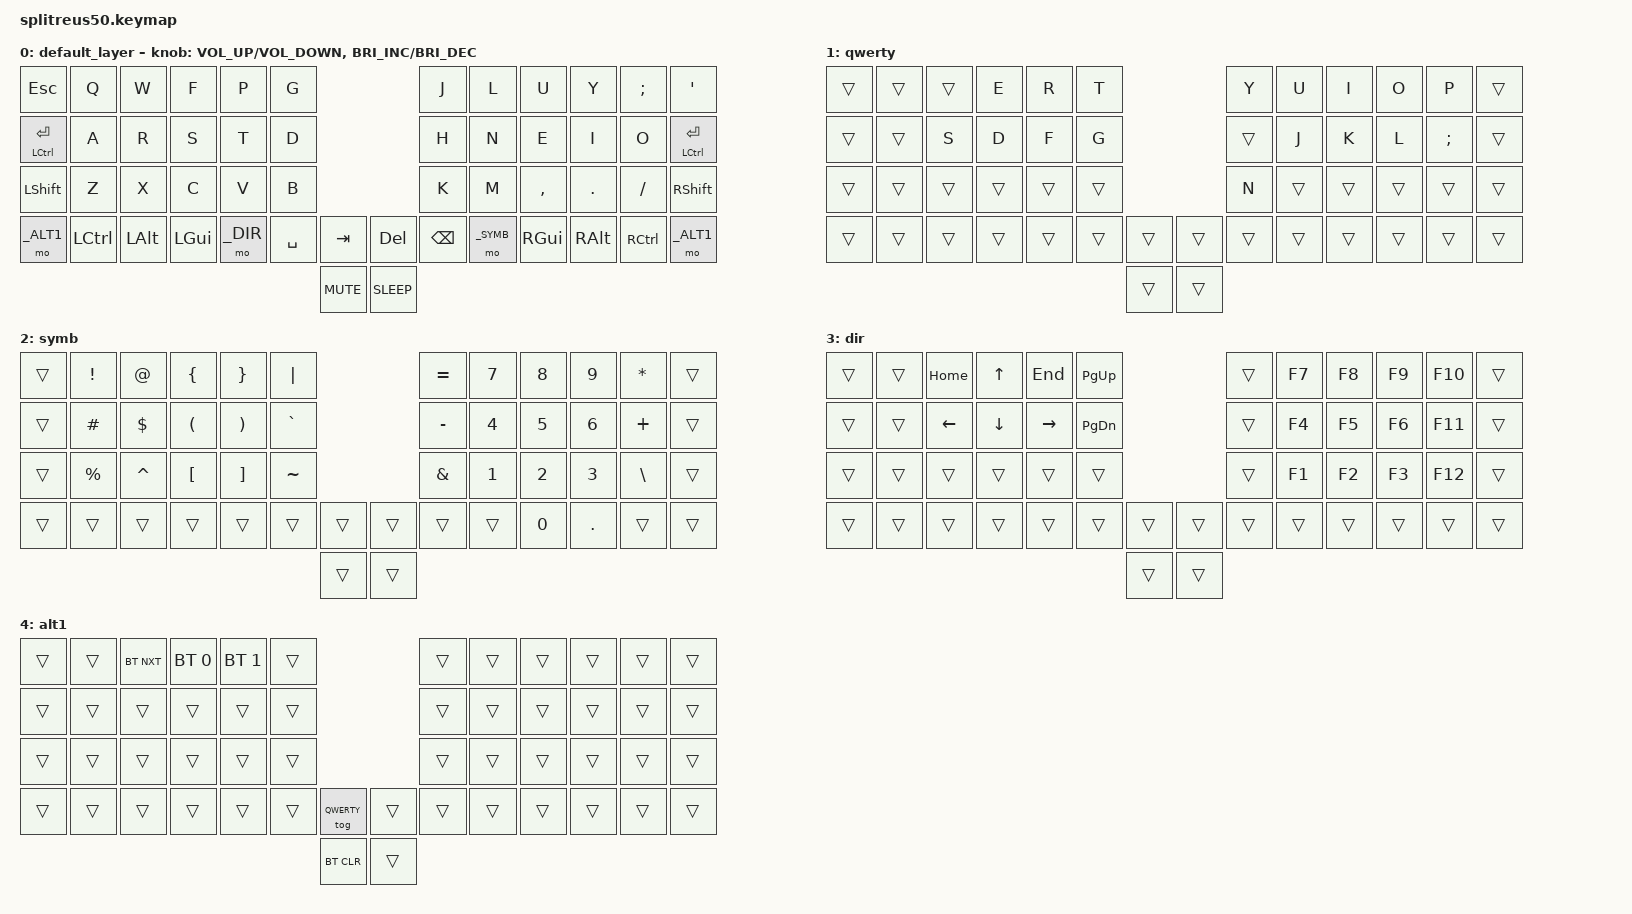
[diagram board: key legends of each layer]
/*
 * Copyright (c) 2021 The ZMK Contributors
 *
 * SPDX-License-Identifier: MIT
 */
 
#include <behaviors.dtsi>
#include <dt-bindings/zmk/keys.h>
#include <dt-bindings/zmk/bt.h>
#include <dt-bindings/zmk/outputs.h>

#define _DEFAULT 0
#define _QWERTY 1
#define _SYMB 2
#define _DIR 3
#define _ALT1 4

#define RESET &reset
#define BOOTLDR   &bootloader
#define CTLENT    &mt LCTL ENTER
#define MOALT1    &mo _ALT1
#define TGQW      &tog _QWERTY
#define BTCLR     &bt BT_CLR
#define BTNXT     &bt BT_NXT
#define BTSEL0    &bt BT_SEL 0
#define BTSEL1    &bt BT_SEL 1

/ {
	keymap {
		compatible = "zmk,keymap";

		default_layer {
			bindings = <
&kp ESC   &kp Q      &kp W      &kp F      &kp P      &kp G                            &kp J      &kp L      &kp U      &kp Y     &kp SEMI    &kp SQT
CTLENT    &kp A      &kp R      &kp S      &kp T      &kp D                            &kp H      &kp N      &kp E      &kp I     &kp O       CTLENT
&kp LSHFT &kp Z      &kp X      &kp C      &kp V      &kp B                            &kp K      &kp M      &kp COMMA  &kp DOT   &kp FSLH    &kp RSHFT
MOALT1    &kp LCTL   &kp LALT   &kp LGUI   &mo _DIR   &kp SPACE  &kp TAB    &kp DEL    &kp BKSP   &mo _SYMB  &kp RGUI   &kp RALT  &kp RCTL    MOALT1
													  			  &kp C_MUTE  &kp C_SLEEP
			>;

		sensor-bindings = <&inc_dec_kp C_VOLUME_UP C_VOLUME_DOWN &inc_dec_kp C_BRIGHTNESS_INC C_BRIGHTNESS_DEC>;
		};
		
		qwerty {
			bindings = <
&trans    &trans     &trans     &kp E      &kp R      &kp T                            &kp Y      &kp U      &kp I      &kp O      &kp P    &trans
&trans    &trans     &kp S      &kp D      &kp F      &kp G                            &trans     &kp J      &kp K      &kp L      &kp SEMI &trans
&trans    &trans     &trans     &trans     &trans     &trans                           &kp N      &trans     &trans     &trans     &trans   &trans
&trans    &trans     &trans     &trans     &trans     &trans    &trans     &trans      &trans     &trans     &trans     &trans     &trans   &trans
																   &trans   &trans
			>;
		};
		
		symb {
			bindings = <
&trans    &kp EXCL   &kp AT     &kp LBRC   &kp RBRC   &kp PIPE                         &kp EQUAL  &kp N7     &kp N8     &kp N9     &kp ASTRK  &trans
&trans    &kp HASH   &kp DLLR   &kp LPAR   &kp RPAR   &kp GRAVE                        &kp MINUS  &kp N4     &kp N5     &kp N6     &kp PLUS   &trans
&trans    &kp PRCNT  &kp CARET  &kp LBKT   &kp RBKT   &kp TILDE                        &kp AMPS   &kp N1     &kp N2     &kp N3     &kp BSLH   &trans
&trans    &trans     &trans     &trans     &trans     &trans    &trans     &trans      &trans     &trans     &kp N0     &kp DOT    &trans     &trans
																   &trans     &trans
			>;
		};

		dir {
			bindings = <
&trans    &trans     &kp HOME   &kp UP      &kp END    &kp PG_UP                        &trans     &kp F7     &kp F8     &kp F9     &kp F10   &trans
&trans    &trans     &kp LEFT   &kp DOWN    &kp RIGHT  &kp PG_DN                        &trans     &kp F4     &kp F5     &kp F6     &kp F11   &trans
&trans    &trans     &trans     &trans      &trans     &trans                           &trans     &kp F1     &kp F2     &kp F3     &kp F12   &trans
&trans    &trans     &trans     &trans      &trans     &trans   &trans     &trans       &trans     &trans     &trans     &trans     &trans    &trans
																    &trans    &trans
			>;
		};

		alt1 {
			bindings = <
&trans    &trans     BTNXT      BTSEL0      BTSEL1    &trans                            &trans     &trans     &trans     &trans     &trans   &trans
&trans    &trans     &trans     &trans      &trans    &trans                            &trans     &trans     &trans     &trans     &trans   &trans
&trans    &trans     &trans     &trans      &trans    &trans                            &trans     &trans     &trans     &trans     &trans   &trans
&trans    &trans     &trans     &trans      &trans    &trans    TGQW       &trans       &trans     &trans     &trans     &trans     &trans   &trans
																    BTCLR    &trans
			>;
		};
  };
};

